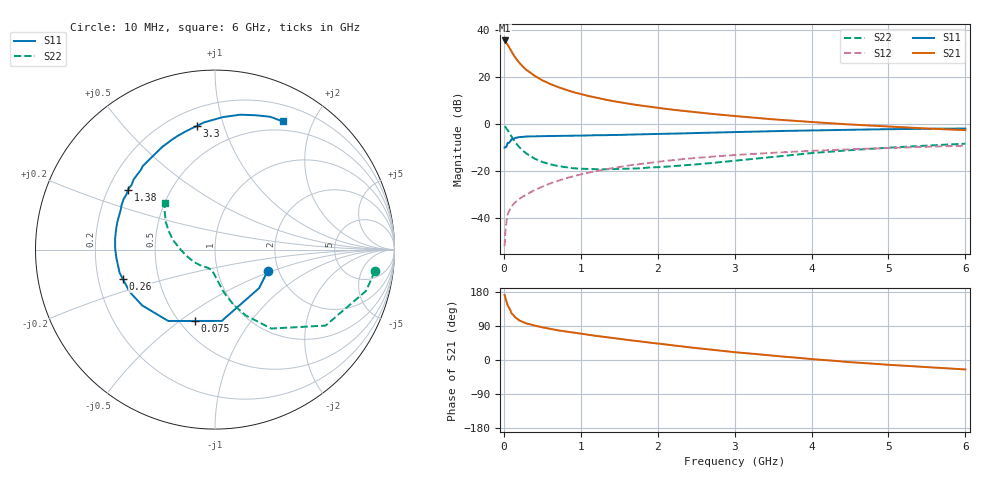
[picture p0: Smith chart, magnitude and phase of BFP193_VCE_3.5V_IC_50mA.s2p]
! Infineon Technologies  Discrete & RF Semiconductors
! BFP193
! VCE = 3.5 V,  IC =  50 mA
! Common Emitter S-Parameters:  Jan 2016
# GHz  S  MA  R  50
!  f  S11  S21  S12  S22
! GHz  MAG  ANG  MAG  ANG  MAG  ANG  MAG  ANG
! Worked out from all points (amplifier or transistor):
!   210 points, 10 MHz to 6 GHz, reference 50 ohm
!   highest |S21| = 35.7 dB at 10 MHz (marker M1)
!   |S21| within 3 dB of that: start of sweep to 69.49 MHz
!   unconditionally stable (mu >= 1): 510.2 MHz to 3.86 GHz
!   at 185 MHz: K = 0.70, MSG = 29.6 dB, |S12| = -32.4 dB
!   at 1.52 GHz: K = 1.07, MAG = 12.1 dB, |S12| = -18.1 dB
!   at 6 GHz: K = 0.94, MSG = 3.3 dB, |S12| = -9.2 dB
!   S11 on the Smith chart (normalised r, x): 10 MHz: 1.76, -0.46; 75 MHz: 0.60, -0.57; 260 MHz: 0.31, -0.14; 1.38 GHz: 0.28, +0.29; 3.3 GHz: 0.31, +0.81; 6 GHz: 0.39, +1.59
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0.01  0.3168 -21.9  61.07 171.8  0.0025 77.4  0.8987 -7.7
0.02  0.3263 -41.1  58.19 162.9  0.005 75.5  0.8722 -15.3
0.05  0.3992 -84.6  49.35 143.6  0.0119 65.9  0.7475 -34.5
0.075  0.4129 -105.6  41.62 135.2  0.0147 61.3  0.6342 -42.9
0.1  0.4753 -123.2  35.15 123.4  0.0176 58.2  0.54 -54.5
0.15  0.5113 -142.5  26.05 111.8  0.0217 55.7  0.4055 -64.9
0.2  0.53 -153.4  20.48 104.6  0.0252 57.0  0.3242 -71.4
0.26  0.5394 -162.4  16.14 99.1  0.0294 58.4  0.2605 -76.5
0.3  0.547 -166.4  14.07 96.0  0.032 60.1  0.2327 -79.2
0.4  0.5516 -175.3  10.74 90.7  0.0392 62.5  0.1842 -84.0
0.5  0.5563 179.2  8.619 86.2  0.0463 64.0  0.1562 -87.9
0.6  0.5599 173.7  7.218 82.2  0.0543 64.4  0.1395 -91.2
0.7  0.5621 169.2  6.22 78.4  0.0615 65.0  0.1284 -94.3
0.9  0.5662 161.7  4.845 72.3  0.0772 64.0  0.1148 -99.8
1.02  0.5708 157.0  4.303 68.8  0.0863 63.2  0.112 -103.6
1.38  0.5877 145.5  3.19 59.0  0.1133 60.0  0.1098 -114.5
2.02  0.6194 127.3  2.207 43.0  0.1593 52.1  0.1215 -136.1
3.1  0.6832 102.2  1.445 18.9  0.225 38.0  0.1716 -172.2
3.3  0.696 98.5  1.354 15.3  0.2353 35.5  0.1849 -177.7
4.1  0.7435 85.1  1.084 0.9  0.2746 25.9  0.2491 164.8
5.1  0.7855 71.9  0.876 -13.8  0.3145 14.7  0.3222 148.9
6  0.8077 62.1  0.748 -24.9  0.3481 5.1  0.3829 137.1
